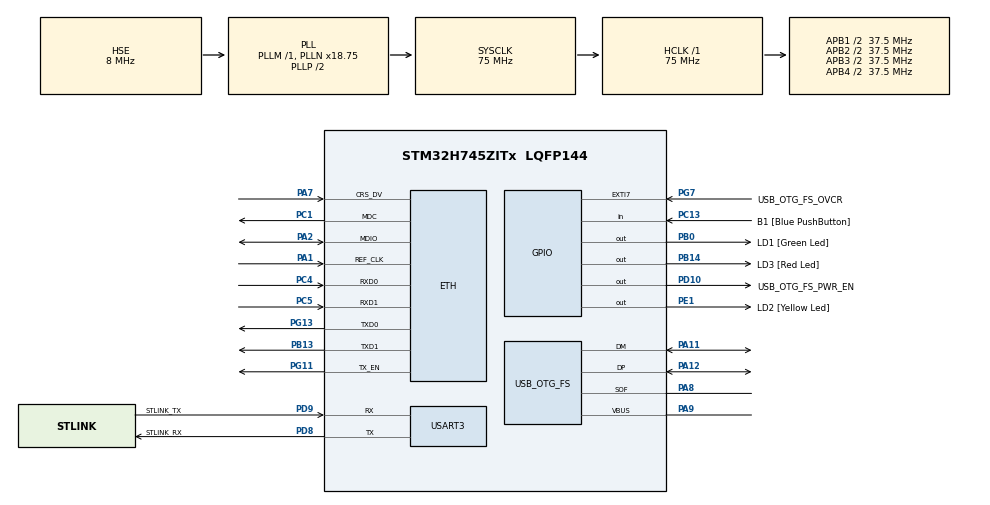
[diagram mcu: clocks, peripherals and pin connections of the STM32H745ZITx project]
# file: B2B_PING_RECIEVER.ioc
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CORTEX_M7.AccessPermission-Cortex_Memory_Protection_Unit_Region0_Settings=MPU_REGION_FULL_ACCESS
CORTEX_M7.AccessPermission-Cortex_Memory_Protection_Unit_Region1_Settings=MPU_REGION_FULL_ACCESS
CORTEX_M7.BaseAddress-Cortex_Memory_Protection_Unit_Region0_Settings=0x30040000
CORTEX_M7.BaseAddress-Cortex_Memory_Protection_Unit_Region1_Settings=0x30044000
CORTEX_M7.CPU_DCache=Enabled
CORTEX_M7.CPU_ICache=Enabled
CORTEX_M7.Enable-Cortex_Memory_Protection_Unit_Region0_Settings=MPU_REGION_ENABLE
CORTEX_M7.Enable-Cortex_Memory_Protection_Unit_Region1_Settings=MPU_REGION_ENABLE
CORTEX_M7.IsBufferable-Cortex_Memory_Protection_Unit_Region0_Settings=MPU_ACCESS_BUFFERABLE
CORTEX_M7.IsShareable-Cortex_Memory_Protection_Unit_Region1_Settings=MPU_ACCESS_SHAREABLE
CORTEX_M7.MPU_Control=MPU_PRIVILEGED_DEFAULT
CORTEX_M7.Size-Cortex_Memory_Protection_Unit_Region0_Settings=MPU_REGION_SIZE_256B
CORTEX_M7.Size-Cortex_Memory_Protection_Unit_Region1_Settings=MPU_REGION_SIZE_16KB
CORTEX_M7.TypeExtField-Cortex_Memory_Protection_Unit_Region1_Settings=MPU_TEX_LEVEL1
CortexM4.IPs=FATFS_M4\:I,FREERTOS_M4\:I,IWDG2\:I,RCC,WWDG2\:I,DMA,BDMA,MDMA,NVIC2\:I,USART3,ETH\:I,DEBUG,USB_DEVICE_M4\:I,USB_HOST_M4\:I,PDM2PCM_M4\:I,PWR,RESMGR_UTILITY,SYS_M4\:I,CORTEX_M4\:I,OPENAMP_M4\:I,VREFBUF,GPIO
CortexM7.IPs=FATFS_M7\:I,FREERTOS_M7\:I,IWDG1\:I,RCC\:I,WWDG1\:I,DMA\:I,BDMA\:I,MDMA\:I,NVIC1\:I,SYS\:I,USART3\:I,USB_OTG_FS\:I,CORTEX_M7\:I,DEBUG\:I,USB_DEVICE_M7\:I,USB_HOST_M7\:I,PDM2PCM_M7\:I,PWR\:I,RESMGR_UTILITY\:I,OPENAMP_M7\:I,VREFBUF\:I,GPIO\:I,LWIP\:I,TIM16\:I,ETH
ETH.MACAddr=06\:06\:06\:06\:06\:05
ETH.MediaInterface=HAL_ETH_RMII_MODE
Mcu.Family=STM32H7
Mcu.Name=STM32H745ZITx
Mcu.Package=LQFP144
NVIC1.PriorityGroup=NVIC_PRIORITYGROUP_4
NVIC2.PriorityGroup=NVIC_PRIORITYGROUP_4
PA1.Mode=RMII
PA1.PinAttribute=CortexM4
PA1.Signal=ETH_REF_CLK
PA11.Mode=Device_Only
PA11.PinAttribute=CortexM7
PA11.Signal=USB_OTG_FS_DM
PA12.Mode=Device_Only
PA12.PinAttribute=CortexM7
PA12.Signal=USB_OTG_FS_DP
PA2.Mode=RMII
PA2.PinAttribute=CortexM4
PA2.Signal=ETH_MDIO
PA7.Mode=RMII
PA7.PinAttribute=CortexM4
PA7.Signal=ETH_CRS_DV
PA8.Mode=Activate_SOF_FS
PA8.PinAttribute=CortexM7
PA8.Signal=USB_OTG_FS_SOF
PA9.Mode=Activate_VBUS
PA9.PinAttribute=CortexM7
PA9.Signal=USB_OTG_FS_VBUS
PB0.GPIO_Label=LD1 [Green Led]
PB0.PinAttribute=Free
PB0.Signal=GPIO_Output
PB13.Mode=RMII
PB13.PinAttribute=CortexM4
PB13.Signal=ETH_TXD1
PB14.GPIO_Label=LD3 [Red Led]
PB14.PinAttribute=Free
PB14.Signal=GPIO_Output
PC1.Mode=RMII
PC1.PinAttribute=CortexM4
PC1.Signal=ETH_MDC
PC13.GPIO_Label=B1 [Blue PushButton]
PC13.PinAttribute=Free
PC13.Signal=GPIO_Input
PC14-OSC32_IN\ (OSC32_IN).Mode=LSE-External-Oscillator
PC14-OSC32_IN\ (OSC32_IN).PinAttribute=CortexM7
PC14-OSC32_IN\ (OSC32_IN).Signal=RCC_OSC32_IN
PC15-OSC32_OUT\ (OSC32_OUT).Mode=LSE-External-Oscillator
PC15-OSC32_OUT\ (OSC32_OUT).PinAttribute=CortexM7
PC15-OSC32_OUT\ (OSC32_OUT).Signal=RCC_OSC32_OUT
PC4.Mode=RMII
PC4.PinAttribute=CortexM4
PC4.Signal=ETH_RXD0
PC5.Mode=RMII
PC5.PinAttribute=CortexM4
PC5.Signal=ETH_RXD1
PD10.GPIO_Label=USB_OTG_FS_PWR_EN
PD10.PinAttribute=Free
PD10.Signal=GPIO_Output
PD8.GPIO_Label=STLINK_RX
PD8.Mode=Asynchronous
PD8.PinAttribute=CortexM7
PD8.Signal=USART3_TX
PD9.GPIO_Label=STLINK_TX
PD9.Mode=Asynchronous
PD9.PinAttribute=CortexM7
PD9.Signal=USART3_RX
PE1.GPIO_Label=LD2 [Yellow Led]
PE1.PinAttribute=Free
PE1.Signal=GPIO_Output
PG11.Mode=RMII
PG11.PinAttribute=CortexM4
PG11.Signal=ETH_TX_EN
PG13.Mode=RMII
PG13.PinAttribute=CortexM4
PG13.Signal=ETH_TXD0
PG7.GPIO_Label=USB_OTG_FS_OVCR
PG7.PinAttribute=Free
PG7.Signal=GPXTI7
PH0-OSC_IN\ (PH0).Mode=HSE-External-Clock-Source
PH0-OSC_IN\ (PH0).PinAttribute=CortexM7
PH0-OSC_IN\ (PH0).Signal=RCC_OSC_IN
PH1-OSC_OUT\ (PH1).PinAttribute=CortexM7
PH1-OSC_OUT\ (PH1).Signal=RCC_OSC_OUT
ProjectManager.HeapSize=M4-0x200,M7-0x200
ProjectManager.StackSize=M4-0x400,M7-0x400
ProjectManager.TargetToolchain=STM32CubeIDE
RCC.ADCFreq_Value=16125000
RCC.APB1Freq_Value=37500000
RCC.APB2Freq_Value=37500000
RCC.APB3Freq_Value=37500000
RCC.APB4Freq_Value=37500000
RCC.CortexFreq_Value=75000000
RCC.D1PPRE=RCC_APB3_DIV2
RCC.D2PPRE1=RCC_APB1_DIV2
RCC.D2PPRE2=RCC_APB2_DIV2
RCC.D3PPRE=RCC_APB4_DIV2
RCC.DIVM1=1
RCC.DIVM3=1
RCC.DIVN1=18
RCC.DIVN3=18
RCC.DIVQ3=3
RCC.HCLKFreq_Value=75000000
RCC.HSE_VALUE=8000000
RCC.PLL2FRACN=0
RCC.PLL3FRACN=6144
RCC.PLLFRACN=6144
RCC.SYSCLKFreq_VALUE=75000000
RCC.SYSCLKSource=RCC_SYSCLKSOURCE_PLLCLK
RCC.SupplySource=PWR_DIRECT_SMPS_SUPPLY
RCC.USBCLockSelection=RCC_USBCLKSOURCE_PLL3
RCC.USBFreq_Value=50000000
USART3.VirtualMode-Asynchronous=VM_ASYNC
USB_OTG_FS.VirtualMode=Device_Only
VP_SYS_M4_VS_Systick.Mode=SysTick
VP_TIM16_VS_ClockSourceINT.Mode=Enable_Timer
board=NUCLEO-H745ZI-Q

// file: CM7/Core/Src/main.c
/* USER CODE BEGIN Header */
/**
  ******************************************************************************
  * @file           : main.c
  * @brief          : Main program body
  ******************************************************************************
  * @attention
  *
  * Copyright (c) 2023 STMicroelectronics.
  * All rights reserved.
  *
  * This software is licensed under terms that can be found in the LICENSE file
  * in the root directory of this software component.
  * If no LICENSE file comes with this software, it is provided AS-IS.
  *
  ******************************************************************************
  */
/* USER CODE END Header */
#include "main.h"
#include "string.h"

/* USER CODE BEGIN Includes */
#include "lwip/icmp.h"
#include "lwip/inet_chksum.h"
#include "string.h"
#include <stdlib.h>
#include "lwip/etharp.h"
/* USER CODE END Includes */

/* USER CODE BEGIN PD */

#ifndef HSEM_ID_0
#define HSEM_ID_0 (0U) /* HW semaphore 0*/
#endif

/* USER CODE END PD */

#if defined ( __ICCARM__ ) /*!< IAR Compiler */
#pragma location=0x30000000
ETH_DMADescTypeDef  DMARxDscrTab[ETH_RX_DESC_CNT]; /* Ethernet Rx DMA Descriptors */
#pragma location=0x30000200
ETH_DMADescTypeDef  DMATxDscrTab[ETH_TX_DESC_CNT]; /* Ethernet Tx DMA Descriptors */

#elif defined ( __CC_ARM )  /* MDK ARM Compiler */

__attribute__((at(0x30000000))) ETH_DMADescTypeDef  DMARxDscrTab[ETH_RX_DESC_CNT]; /* Ethernet Rx DMA Descriptors */
__attribute__((at(0x30000200))) ETH_DMADescTypeDef  DMATxDscrTab[ETH_TX_DESC_CNT]; /* Ethernet Tx DMA Descriptors */

#elif defined ( __GNUC__ ) /* GNU Compiler */
ETH_DMADescTypeDef DMARxDscrTab[ETH_RX_DESC_CNT] __attribute__((section(".RxDecripSection"))); /* Ethernet Rx DMA Descriptors */
ETH_DMADescTypeDef DMATxDscrTab[ETH_TX_DESC_CNT] __attribute__((section(".TxDecripSection")));   /* Ethernet Tx DMA Descriptors */

#endif

ETH_TxPacketConfig TxConfig;

ETH_HandleTypeDef heth;

TIM_HandleTypeDef htim16;

UART_HandleTypeDef huart3;

PCD_HandleTypeDef hpcd_USB_OTG_FS;

void SystemClock_Config(void);
static void MPU_Config(void);
static void MX_GPIO_Init(void);
static void MX_USART3_UART_Init(void);
static void MX_USB_OTG_FS_PCD_Init(void);
static void MX_TIM16_Init(void);

int main(void)
{
  /* USER CODE BEGIN 1 */
	GPIO_Config();
  /* USER CODE END 1 */
/* USER CODE BEGIN Boot_Mode_Sequence_0 */
  //int32_t timeout;
/* USER CODE END Boot_Mode_Sequence_0 */

  /* MPU Configuration--------------------------------------------------------*/
  MPU_Config();

  /* Enable I-Cache---------------------------------------------------------*/
  SCB_EnableICache();

  /* Enable D-Cache---------------------------------------------------------*/
  SCB_EnableDCache();

/* USER CODE BEGIN Boot_Mode_Sequence_1 */
//  /* Wait until CPU2 boots and enters in stop mode or timeout*/
//  timeout = 0xFFFF;
//  while((__HAL_RCC_GET_FLAG(RCC_FLAG_D2CKRDY) != RESET) && (timeout-- > 0));
//  if ( timeout < 0 )
//  {
//  Error_Handler();
//  }
/* USER CODE END Boot_Mode_Sequence_1 */
  /* MCU Configuration--------------------------------------------------------*/

  /* Reset of all peripherals, Initializes the Flash interface and the Systick. */
  HAL_Init();

  /* Configure the system clock */
  SystemClock_Config();
/* USER CODE BEGIN Boot_Mode_Sequence_2 */
/* When system initialization is finished, Cortex-M7 will release Cortex-M4 by means of
HSEM notification */
///*HW semaphore Clock enable*/
//__HAL_RCC_HSEM_CLK_ENABLE();
///*Take HSEM */
//HAL_HSEM_FastTake(HSEM_ID_0);
///*Release HSEM in order to notify the CPU2(CM4)*/
//HAL_HSEM_Release(HSEM_ID_0,0);
///* wait until CPU2 wakes up from stop mode */
//timeout = 0xFFFF;
//while((__HAL_RCC_GET_FLAG(RCC_FLAG_D2CKRDY) == RESET) && (timeout-- > 0));
//if ( timeout < 0 )
//{
//Error_Handler();
//}
/* USER CODE END Boot_Mode_Sequence_2 */

  /* Initialize all configured peripherals */
  MX_GPIO_Init();
  MX_USART3_UART_Init();
  MX_USB_OTG_FS_PCD_Init();
  MX_TIM16_Init();
  /* USER CODE BEGIN 2 */
  SCB_CleanInvalidateDCache();
  //struct pbuf *r;
//  ip_addr_t src_ip, dest_ip;
//  //r = pbuf_alloc(PBUF_RAW_TX, SIZEOF_ETHARP_HDR, PBUF_RAM);
//  //struct netif *netif;
//   //Set the source and destination IP addresses
//  IP4_ADDR(&dest_ip, 192, 168, 0, 155);
//  IP4_ADDR(&src_ip, 192, 168, 0, 156);
//  struct eth_addr mac_src;  // Source MAC address (example)
//  struct eth_addr mac_dst;  // Destination MAC address (example)
//  uint8_t mac_src_addr[6] = {0x00, 0x80, 0xE1, 0x00, 0x00, 0x01};
//      //uint8_t mac_dst_addr[6] = {0x00, 0x80, 0xE1, 0x00, 0x00, 0x01};
//      uint8_t mac_dst_addr[6] = {0x9C, 0x7B, 0xEF, 0xC3, 0x8D, 0xF3};
//      memcpy(mac_src.addr, mac_src_addr, 6);
//      memcpy(mac_dst.addr, mac_dst_addr, 6);
//  etharp_add_static_entry(&src_ip, &mac_src);
//      etharp_add_static_entry(&dest_ip, &mac_dst);
//  //netif = ip4_route(&src_ip, &dest_ip);
//  MX_LWIP_Init();
  /* USER CODE END 2 */

  /* Infinite loop */
  while (1)
  {

    /* USER CODE BEGIN 3 */
	  //etharp_input(r, &gnetif);

	  MX_LWIP_Process();
  }
  /* USER CODE END 3 */
}

void SystemClock_Config(void)
{
  RCC_OscInitTypeDef RCC_OscInitStruct = {0};
  RCC_ClkInitTypeDef RCC_ClkInitStruct = {0};

  /** Supply configuration update enable
  */
  HAL_PWREx_ConfigSupply(PWR_DIRECT_SMPS_SUPPLY);

  /** Configure the main internal regulator output voltage
  */
  __HAL_PWR_VOLTAGESCALING_CONFIG(PWR_REGULATOR_VOLTAGE_SCALE3);

  while(!__HAL_PWR_GET_FLAG(PWR_FLAG_VOSRDY)) {}

  /** Initializes the RCC Oscillators according to the specified parameters
  * in the RCC_OscInitTypeDef structure.
  */
  RCC_OscInitStruct.OscillatorType = RCC_OSCILLATORTYPE_HSE;
  RCC_OscInitStruct.HSEState = RCC_HSE_BYPASS;
  RCC_OscInitStruct.PLL.PLLState = RCC_PLL_ON;
  RCC_OscInitStruct.PLL.PLLSource = RCC_PLLSOURCE_HSE;
  RCC_OscInitStruct.PLL.PLLM = 1;
  RCC_OscInitStruct.PLL.PLLN = 18;
  RCC_OscInitStruct.PLL.PLLP = 2;
  RCC_OscInitStruct.PLL.PLLQ = 2;
  RCC_OscInitStruct.PLL.PLLR = 2;
  RCC_OscInitStruct.PLL.PLLRGE = RCC_PLL1VCIRANGE_3;
  RCC_OscInitStruct.PLL.PLLVCOSEL = RCC_PLL1VCOMEDIUM;
  RCC_OscInitStruct.PLL.PLLFRACN = 6144;
  if (HAL_RCC_OscConfig(&RCC_OscInitStruct) != HAL_OK)
  {
    Error_Handler();
  }

  /** Initializes the CPU, AHB and APB buses clocks
  */
  RCC_ClkInitStruct.ClockType = RCC_CLOCKTYPE_HCLK|RCC_CLOCKTYPE_SYSCLK
                              |RCC_CLOCKTYPE_PCLK1|RCC_CLOCKTYPE_PCLK2
                              |RCC_CLOCKTYPE_D3PCLK1|RCC_CLOCKTYPE_D1PCLK1;
  RCC_ClkInitStruct.SYSCLKSource = RCC_SYSCLKSOURCE_PLLCLK;
  RCC_ClkInitStruct.SYSCLKDivider = RCC_SYSCLK_DIV1;
  RCC_ClkInitStruct.AHBCLKDivider = RCC_HCLK_DIV1;
  RCC_ClkInitStruct.APB3CLKDivider = RCC_APB3_DIV2;
  RCC_ClkInitStruct.APB1CLKDivider = RCC_APB1_DIV2;
  RCC_ClkInitStruct.APB2CLKDivider = RCC_APB2_DIV2;
  RCC_ClkInitStruct.APB4CLKDivider = RCC_APB4_DIV2;

  if (HAL_RCC_ClockConfig(&RCC_ClkInitStruct, FLASH_LATENCY_1) != HAL_OK)
  {
    Error_Handler();
  }
}

void MX_ETH_Init(void)
{

   static uint8_t MACAddr[6];

  heth.Instance = ETH;
  MACAddr[0] = 0x06;
  MACAddr[1] = 0x06;
  MACAddr[2] = 0x06;
  MACAddr[3] = 0x06;
  MACAddr[4] = 0x06;
  MACAddr[5] = 0x05;
  heth.Init.MACAddr = &MACAddr[0];
  heth.Init.MediaInterface = HAL_ETH_RMII_MODE;
  heth.Init.TxDesc = DMATxDscrTab;
  heth.Init.RxDesc = DMARxDscrTab;
  heth.Init.RxBuffLen = 1524;

  if (HAL_ETH_Init(&heth) != HAL_OK)
  {
    Error_Handler();
  }

  memset(&TxConfig, 0 , sizeof(ETH_TxPacketConfig));
  TxConfig.Attributes = ETH_TX_PACKETS_FEATURES_CSUM | ETH_TX_PACKETS_FEATURES_CRCPAD;
  TxConfig.ChecksumCtrl = ETH_CHECKSUM_IPHDR_PAYLOAD_INSERT_PHDR_CALC;
  TxConfig.CRCPadCtrl = ETH_CRC_PAD_INSERT;

}

static void MX_TIM16_Init(void)
{

  htim16.Instance = TIM16;
  htim16.Init.Prescaler = 0;
  htim16.Init.CounterMode = TIM_COUNTERMODE_UP;
  htim16.Init.Period = 65535;
  htim16.Init.ClockDivision = TIM_CLOCKDIVISION_DIV1;
  htim16.Init.RepetitionCounter = 0;
  htim16.Init.AutoReloadPreload = TIM_AUTORELOAD_PRELOAD_DISABLE;
  if (HAL_TIM_Base_Init(&htim16) != HAL_OK)
  {
    Error_Handler();
  }

}

static void MX_USART3_UART_Init(void)
{

  huart3.Instance = USART3;
  huart3.Init.BaudRate = 115200;
  huart3.Init.WordLength = UART_WORDLENGTH_8B;
  huart3.Init.StopBits = UART_STOPBITS_1;
  huart3.Init.Parity = UART_PARITY_NONE;
  huart3.Init.Mode = UART_MODE_TX_RX;
  huart3.Init.HwFlowCtl = UART_HWCONTROL_NONE;
  huart3.Init.OverSampling = UART_OVERSAMPLING_16;
  huart3.Init.OneBitSampling = UART_ONE_BIT_SAMPLE_DISABLE;
  huart3.Init.ClockPrescaler = UART_PRESCALER_DIV1;
  huart3.AdvancedInit.AdvFeatureInit = UART_ADVFEATURE_NO_INIT;
  if (HAL_UART_Init(&huart3) != HAL_OK)
  {
    Error_Handler();
  }
  if (HAL_UARTEx_SetTxFifoThreshold(&huart3, UART_TXFIFO_THRESHOLD_1_8) != HAL_OK)
  {
    Error_Handler();
  }
  if (HAL_UARTEx_SetRxFifoThreshold(&huart3, UART_RXFIFO_THRESHOLD_1_8) != HAL_OK)
  {
    Error_Handler();
  }
  if (HAL_UARTEx_DisableFifoMode(&huart3) != HAL_OK)
  {
    Error_Handler();
  }

}

static void MX_USB_OTG_FS_PCD_Init(void)
{

  hpcd_USB_OTG_FS.Instance = USB_OTG_FS;
  hpcd_USB_OTG_FS.Init.dev_endpoints = 9;
  hpcd_USB_OTG_FS.Init.speed = PCD_SPEED_FULL;
  hpcd_USB_OTG_FS.Init.dma_enable = DISABLE;
  hpcd_USB_OTG_FS.Init.phy_itface = PCD_PHY_EMBEDDED;
  hpcd_USB_OTG_FS.Init.Sof_enable = DISABLE;
  hpcd_USB_OTG_FS.Init.low_power_enable = DISABLE;
  hpcd_USB_OTG_FS.Init.lpm_enable = DISABLE;
  hpcd_USB_OTG_FS.Init.battery_charging_enable = ENABLE;
  hpcd_USB_OTG_FS.Init.vbus_sensing_enable = ENABLE;
  hpcd_USB_OTG_FS.Init.use_dedicated_ep1 = DISABLE;
  if (HAL_PCD_Init(&hpcd_USB_OTG_FS) != HAL_OK)
  {
    Error_Handler();
  }

}

static void MX_GPIO_Init(void)
{

  /* GPIO Ports Clock Enable */
  __HAL_RCC_GPIOC_CLK_ENABLE();
  __HAL_RCC_GPIOH_CLK_ENABLE();
  __HAL_RCC_GPIOD_CLK_ENABLE();
  __HAL_RCC_GPIOA_CLK_ENABLE();

}

/* USER CODE BEGIN 4 */
int _write(int file, char *ptr, int len){
	int var;
	for (var = 0; var < len; ++var) {
		ITM_SendChar(*ptr++);
	}
	return len;
}

void GPIO_Config(void){
	__HAL_RCC_GPIOB_CLK_ENABLE();
	__HAL_RCC_GPIOE_CLK_ENABLE();

	GPIO_InitTypeDef GPIOB_init = {};
	GPIOB_init.Pin = GPIO_PIN_0;
	GPIOB_init.Mode = GPIO_MODE_OUTPUT_PP;
	HAL_GPIO_Init(GPIOB, &GPIOB_init);

	GPIO_InitTypeDef GPIOE_init = {};
		GPIOE_init.Pin = GPIO_PIN_1;
		GPIOE_init.Mode = GPIO_MODE_OUTPUT_PP;
		HAL_GPIO_Init(GPIOE, &GPIOE_init);

}
/* USER CODE END 4 */

/* MPU Configuration */

void MPU_Config(void)
{
  MPU_Region_InitTypeDef MPU_InitStruct = {0};

  /* Disables the MPU */
  HAL_MPU_Disable();

  /** Initializes and configures the Region and the memory to be protected
  */
  MPU_InitStruct.Enable = MPU_REGION_ENABLE;
  MPU_InitStruct.Number = MPU_REGION_NUMBER0;
  MPU_InitStruct.BaseAddress = 0x30040000;
  MPU_InitStruct.Size = MPU_REGION_SIZE_256B;
  MPU_InitStruct.SubRegionDisable = 0x0;
  MPU_InitStruct.TypeExtField = MPU_TEX_LEVEL0;
  MPU_InitStruct.AccessPermission = MPU_REGION_FULL_ACCESS;
  MPU_InitStruct.DisableExec = MPU_INSTRUCTION_ACCESS_ENABLE;
  MPU_InitStruct.IsShareable = MPU_ACCESS_NOT_SHAREABLE;
  MPU_InitStruct.IsCacheable = MPU_ACCESS_NOT_CACHEABLE;
  MPU_InitStruct.IsBufferable = MPU_ACCESS_BUFFERABLE;

  HAL_MPU_ConfigRegion(&MPU_InitStruct);

  /** Initializes and configures the Region and the memory to be protected
  */
  MPU_InitStruct.Number = MPU_REGION_NUMBER1;
  MPU_InitStruct.BaseAddress = 0x30044000;
  MPU_InitStruct.Size = MPU_REGION_SIZE_16KB;
  MPU_InitStruct.TypeExtField = MPU_TEX_LEVEL1;
  MPU_InitStruct.IsShareable = MPU_ACCESS_SHAREABLE;
  MPU_InitStruct.IsBufferable = MPU_ACCESS_NOT_BUFFERABLE;

  HAL_MPU_ConfigRegion(&MPU_InitStruct);
  /* Enables the MPU */
  HAL_MPU_Enable(MPU_PRIVILEGED_DEFAULT);

}

void Error_Handler(void)
{
  __disable_irq();
  while (1)
  {
  }
}
